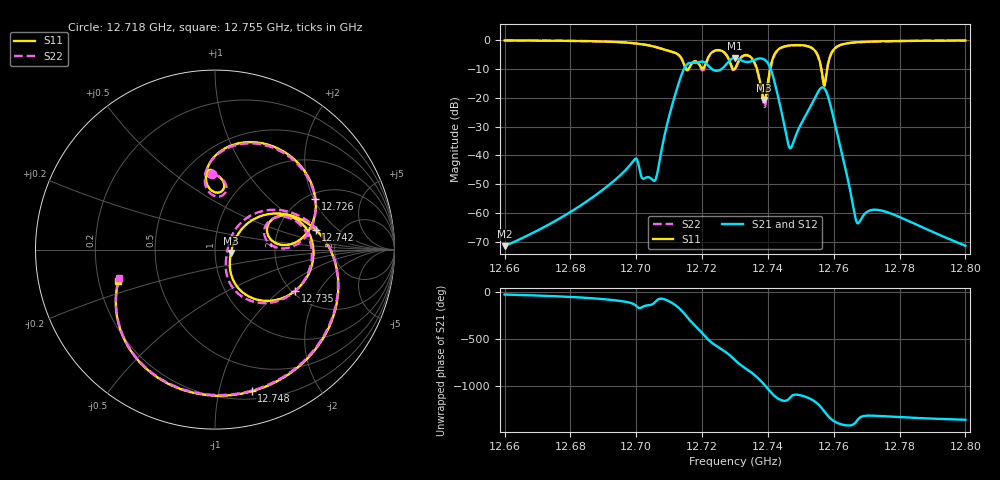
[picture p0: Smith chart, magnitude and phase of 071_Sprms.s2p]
! TOUCHSTONE file generated by CST MICROWAVE STUDIO
! Date and time: Wed Jul 31 14:17:27 2024
! Project name: WaveGuide_BPF-Ver4.1_U-shape_Ku_T3_C4_CWA_2.cst
! Parameters = {cavity_h=16; cavity_l0=10; cavity_l1=15.1797; cavity_l2=16.8573; cavity_l3=17.068; cavity_l4=17.2508; cavity_l5=17.1369; cavity_l6=17.639; cavity_r=2.5; cavity_screw_l=0.5; cavity_screw_r=1.5; cavity_w=8; iris_h00=0; iris_h01=8.8382; iris_h112=0; iris_h12=5.588; iris_h211=3.6684; iri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
! Header version: 2018
! Port assignment regex: !\s*Touchstone port\s*([0-9]+)\s*=\s*(CST MWS port|CST DS port)\s*([0-9]+|Zmin|Zmax)\s*\(\"(.*)\"\)(\s*mode\s*([0-9]+))?.*
! Touchstone port assignment:
! Touchstone port 1 = CST MWS port 1 ("")
! Touchstone port 2 = CST MWS port 2 ("")
# GHz S RI R 50
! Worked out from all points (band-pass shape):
!   5001 points, 12.66 GHz to 12.8 GHz, reference 50 ohm
!   highest |S21| = -6.19 dB at 12.73 GHz (marker M1); lowest = -71.5 dB at 12.66 GHz (marker M2)
!   |S21| within 3 dB of the highest: 12.71487 GHz to 12.72213 GHz (7.252 MHz wide, 0.057 % of centre); 12.72676 GHz to 12.74053 GHz (13.76 MHz wide, 0.108 % of centre)
!   lowest |S11| = -20.8 dB at 12.739 GHz (marker M3), VSWR 1.20, Z = 59.7 - j2.19 ohm
!   |S11| at or under -10 dB: 12.71505 GHz to 12.71596 GHz (906.2 kHz wide, 0.00713 % of centre); 12.73665 GHz to 12.74069 GHz (4.039 MHz wide, 0.0317 % of centre); 12.75624 GHz to 12.75801 GHz (1.769 MHz wide, 0.0139 % of centre) (the widest 3 of 4)
!   |S22| runs from -23.2 to -0.2 dB; largest |S21 - S12| = 1e-10
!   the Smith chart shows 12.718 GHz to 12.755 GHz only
!   S11 on the Smith chart (normalised r, x): 12.718 GHz: 0.66, +0.68; 12.726 GHz: 2.20, +2.06; 12.735 GHz: 2.09, -1.28; 12.742 GHz: 3.29, +1.08; 12.748 GHz: 0.27, -1.26; 12.755 GHz: 0.28, -0.15
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12.66  0.3125 0.9306  0.000246 -0.000103  0.000246 -0.000103  0.319 0.9284
12.68335  0.7189 0.6354  0.000797 -0.00113  0.000797 -0.00113  0.7234 0.6305
12.69878  0.8686 -0.1649  -0.00355 -0.00673  -0.00355 -0.00673  0.8697 -0.1664
12.70668  0.0306 -0.7315  0.00168 -0.0057  0.00168 -0.0057  0.0461 -0.735
12.71107  -0.6169 -0.0536  -0.0364 -0.0718  -0.0364 -0.0718  -0.6154 -0.0788
12.71813  -0.03 0.425  0.4017 -0.0252  0.4017 -0.0252  -0.0151 0.4195
12.72054  -0.0203 0.3303  -0.0328 -0.4134  -0.0328 -0.4134  -0.0204 0.3083
12.72644  0.5587 0.2844  -0.0691 0.326  -0.0691 0.326  0.5595 0.2668
12.72989  0.2901 0.1157  0.4905 0.00795  0.4905 0.00795  0.274 0.1062
12.73  0.2922 0.1277  0.4897 -0.0235  0.4897 -0.0235  0.2765 0.119
12.73482  0.4478 -0.2286  -0.2767 -0.3238  -0.2767 -0.3238  0.427 -0.2472
12.7389  0.089 -0.0182  -0.0494 0.4562  -0.0494 0.4562  0.0665 -0.0197
12.74207  0.5617 0.1101  0.1621 -0.0817  0.1621 -0.0817  0.5349 0.1453
12.74635  0.4851 -0.6355  0.00813 -0.0119  0.00813 -0.0119  0.4934 -0.622
12.74848  0.2039 -0.7897  0.0218 -0.00402  0.0218 -0.00402  0.2087 -0.7845
12.75335  -0.4811 -0.5453  0.0349 -0.0702  0.0349 -0.0702  -0.4856 -0.534
12.75498  -0.5386 -0.1773  -0.0275 -0.1161  -0.0275 -0.1161  -0.5338 -0.1575
12.7571  0.0354 0.1566  -0.1447 0.02  -0.1447 0.02  0.061 0.1527
12.75884  0.3863 -0.3265  -0.0149 0.079  -0.0149 0.079  0.3874 -0.3425
12.76707  -0.5285 -0.7436  0.000209 0.000648  0.000209 0.000648  -0.5335 -0.7403
12.77668  -0.8727 -0.3833  -0.00045 0.00091  -0.00045 0.00091  -0.8753 -0.3774
12.8  -0.96 0.192  3.92e-05 0.000268  3.92e-05 0.000268  -0.9588 0.1982
